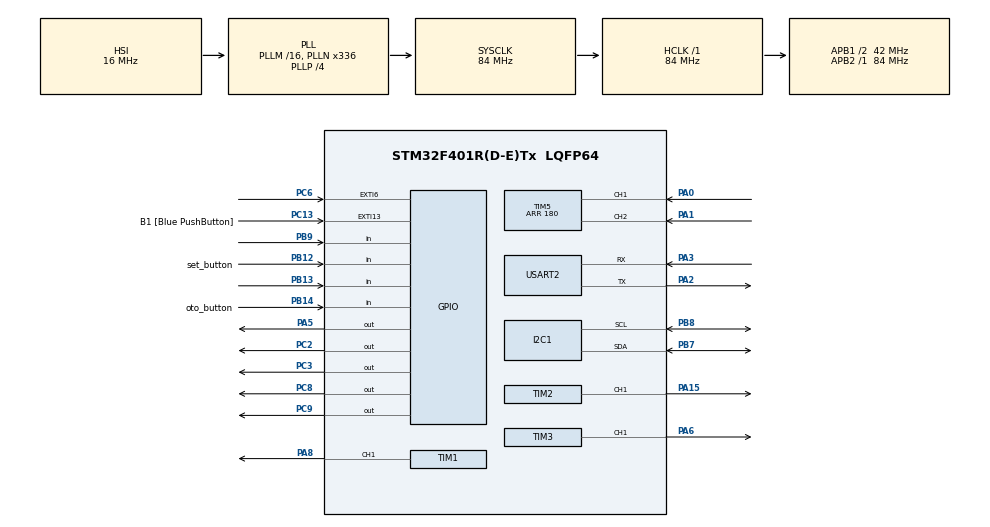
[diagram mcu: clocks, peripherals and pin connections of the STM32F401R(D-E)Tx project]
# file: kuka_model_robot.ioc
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I2C1.I2C_Mode=I2C_Fast
Mcu.Family=STM32F4
Mcu.Name=STM32F401R(D-E)Tx
Mcu.Package=LQFP64
NVIC.EXTI9_5_IRQn=true\:0\:0\:false\:false\:true\:true\:true\:true
NVIC.PriorityGroup=NVIC_PRIORITYGROUP_0
PA0-WKUP.Signal=S_TIM5_CH1
PA1.Signal=S_TIM5_CH2
PA13.GPIO_Label=TMS
PA13.Mode=Serial_Wire
PA13.Signal=SYS_JTMS-SWDIO
PA14.GPIO_Label=TCK
PA14.Mode=Serial_Wire
PA14.Signal=SYS_JTCK-SWCLK
PA15.Signal=S_TIM2_CH1_ETR
PA2.Mode=Asynchronous
PA2.Signal=USART2_TX
PA3.Mode=Asynchronous
PA3.Signal=USART2_RX
PA5.Signal=GPIO_Output
PA6.Signal=S_TIM3_CH1
PA8.Signal=S_TIM1_CH1
PB12.GPIO_Label=set_button
PB12.Signal=GPIO_Input
PB13.Signal=GPIO_Input
PB14.GPIO_Label=oto_button
PB14.Signal=GPIO_Input
PB3.GPIO_Label=SWO
PB3.Signal=SYS_JTDO-SWO
PB7.Mode=I2C
PB7.Signal=I2C1_SDA
PB8.Mode=I2C
PB8.Signal=I2C1_SCL
PB9.Signal=GPIO_Input
PC13-ANTI_TAMP.GPIO_Label=B1 [Blue PushButton]
PC13-ANTI_TAMP.GPIO_ModeDefaultEXTI=GPIO_MODE_IT_FALLING
PC13-ANTI_TAMP.GPIO_PuPd=GPIO_NOPULL
PC13-ANTI_TAMP.Signal=GPXTI13
PC14-OSC32_IN.Mode=LSE-External-Oscillator
PC14-OSC32_IN.Signal=RCC_OSC32_IN
PC15-OSC32_OUT.Mode=LSE-External-Oscillator
PC15-OSC32_OUT.Signal=RCC_OSC32_OUT
PC2.Signal=GPIO_Output
PC3.Signal=GPIO_Output
PC6.Signal=GPXTI6
PC8.Signal=GPIO_Output
PC9.Signal=GPIO_Output
PH0\ -\ OSC_IN.Mode=HSE-External-Clock-Source
PH0\ -\ OSC_IN.Signal=RCC_OSC_IN
PH1\ -\ OSC_OUT.Mode=HSE-External-Clock-Source
PH1\ -\ OSC_OUT.Signal=RCC_OSC_OUT
ProjectManager.HeapSize=0x200
ProjectManager.StackSize=0x400
ProjectManager.TargetToolchain=STM32CubeIDE
RCC.48MHZClocksFreq_Value=48000000
RCC.AHBFreq_Value=84000000
RCC.APB1CLKDivider=RCC_HCLK_DIV2
RCC.APB1Freq_Value=42000000
RCC.APB1TimFreq_Value=84000000
RCC.APB2Freq_Value=84000000
RCC.APB2TimFreq_Value=84000000
RCC.CortexFreq_Value=84000000
RCC.HCLKFreq_Value=84000000
RCC.HSE_VALUE=8000000
RCC.HSI_VALUE=16000000
RCC.PLLN=336
RCC.PLLP=RCC_PLLP_DIV4
RCC.PLLQ=7
RCC.SYSCLKFreq_VALUE=84000000
RCC.SYSCLKSource=RCC_SYSCLKSOURCE_PLLCLK
RCC.VCOOutputFreq_Value=336000000
SH.S_TIM1_CH1.0=TIM1_CH1,PWM Generation1 CH1
SH.S_TIM2_CH1_ETR.0=TIM2_CH1,PWM Generation1 CH1
SH.S_TIM3_CH1.0=TIM3_CH1,PWM Generation1 CH1
SH.S_TIM5_CH1.0=TIM5_CH1,Encoder_Interface
SH.S_TIM5_CH2.0=TIM5_CH2,Encoder_Interface
TIM1.Channel-PWM\ Generation1\ CH1=TIM_CHANNEL_1
TIM1.Period=9999
TIM1.Prescaler=839
TIM2.Channel-PWM\ Generation1\ CH1=TIM_CHANNEL_1
TIM2.Period=9999
TIM2.Prescaler=839
TIM3.Channel-PWM\ Generation1\ CH1=TIM_CHANNEL_1
TIM3.Period=9999
TIM3.Prescaler=839
TIM5.AutoReloadPreload=TIM_AUTORELOAD_PRELOAD_ENABLE
TIM5.EncoderMode=TIM_ENCODERMODE_TI12
TIM5.Period=180
USART2.VirtualMode=VM_ASYNC
VP_TIM1_VS_ClockSourceINT.Mode=Internal
VP_TIM2_VS_ClockSourceINT.Mode=Internal
VP_TIM3_VS_ClockSourceINT.Mode=Internal
board=NUCLEO-F401RE

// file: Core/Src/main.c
/* USER CODE BEGIN Header */
/**
  ******************************************************************************
  * @file           : main.c
  * @brief          : Main program body
  ******************************************************************************
  * @attention
  *
  * Copyright (c) 2023 STMicroelectronics.
  * All rights reserved.
  *
  * This software is licensed under terms that can be found in the LICENSE file
  * in the root directory of this software component.
  * If no LICENSE file comes with this software, it is provided AS-IS.
  *
  ******************************************************************************
  */
/* USER CODE END Header */
#include "main.h"

/* USER CODE BEGIN Includes */
#include "string.h"
#include <stdio.h>
#include "bitmap.h"
#include "delay.h"
#include "fonts.h"
#include "i2c.h"
#include "oled.h"
#include "stm32f4xx_it.h"
#include "stm32f4xx_hal.h"

/* USER CODE END Includes */

I2C_HandleTypeDef hi2c1;

TIM_HandleTypeDef htim1;
TIM_HandleTypeDef htim2;
TIM_HandleTypeDef htim3;
TIM_HandleTypeDef htim5;

UART_HandleTypeDef huart2;

/* USER CODE BEGIN PV */
int value;
int x=0;
uint16_t sayi=0;
char name[15]="\r\nKUKA";
char name1[15]="\r\n1F010 IR50";
char safety_not[25]="\r\nsafety not okey now";
char auto_engine[30]="\r\nengine started auto mode";

/* USER CODE END PV */

void SystemClock_Config(void);
static void MX_GPIO_Init(void);
static void MX_I2C1_Init(void);
static void MX_TIM1_Init(void);
static void MX_TIM2_Init(void);
static void MX_TIM3_Init(void);
static void MX_TIM5_Init(void);
static void MX_USART2_UART_Init(void);

/* USER CODE BEGIN 0 */

void eksen_a1(int deger)
{
	//180 taşıma konumu için max değer*geri sayım
	if(deger<0)
		deger=0;
	if(deger>180)
		deger=180;
	deger=deger+45;

	  __HAL_TIM_SET_COMPARE(&htim1,TIM_CHANNEL_1,deger);

}
void eksen_a2(int deger)
{
	//140 taşıma konumu için max deger *geri sayım
	if(deger<0)
		deger=0;
	if(deger>140)
		deger=140;
	deger=deger+45;

	__HAL_TIM_SET_COMPARE(&htim2,TIM_CHANNEL_1,deger);
}
void eksen_a3(int deger)
{
	if(deger<0)  // taşıma pozisyonu için max değer
		deger=0;
	if(deger>170)
		deger=170;
	deger=deger+45;

	  __HAL_TIM_SET_COMPARE(&htim3,TIM_CHANNEL_1,deger);

}

void HAL_GPIO_EXTI_Callback(uint16_t GPIO_Pin)
{
	HAL_UART_Transmit(&huart2, (uint8_t*)safety_not, strlen(safety_not), 100);

}
/* USER CODE END 0 */

int main(void)
{

  /* MCU Configuration--------------------------------------------------------*/

  /* Reset of all peripherals, Initializes the Flash interface and the Systick. */
  HAL_Init();

  /* Configure the system clock */
  SystemClock_Config();

  /* Initialize all configured peripherals */
  MX_GPIO_Init();
  MX_I2C1_Init();
  MX_TIM1_Init();
  MX_TIM2_Init();
  MX_TIM3_Init();
  MX_TIM5_Init();
  MX_USART2_UART_Init();
  /* USER CODE BEGIN 2 */
  HAL_TIM_PWM_Start(&htim1, TIM_CHANNEL_1);
  HAL_TIM_PWM_Start(&htim2, TIM_CHANNEL_1);
  HAL_TIM_PWM_Start(&htim3, TIM_CHANNEL_1);
 // HAL_TIM_Encoder_Start(&htim5,TIM_CHANNEL_ALL );

for(int i;i<50;i++)
  { HAL_GPIO_TogglePin(GPIOC, GPIO_PIN_2);
HAL_Delay(100);

  }

HAL_UART_Transmit(&huart2, (uint8_t*)name, strlen(name), 100);
HAL_UART_Transmit(&huart2, (uint8_t*)name1, strlen(name1), 100);
HAL_Delay(100);
  eksen_a1(90);
  eksen_a2(140);
  eksen_a3(160);

  /* USER CODE END 2 */

  /* Infinite loop */
  /* USER CODE BEGIN WHILE */
  while (1)
  {

if(HAL_GPIO_ReadPin(GPIOB, GPIO_PIN_9)==1)
{

	HAL_UART_Transmit(&huart2, (uint8_t*)auto_engine, strlen(auto_engine), 100);
	HAL_GPIO_WritePin(GPIOC, GPIO_PIN_9, 0);
	HAL_GPIO_WritePin(GPIOC, GPIO_PIN_3, 0);
HAL_GPIO_TogglePin(GPIOC, GPIO_PIN_8);
HAL_Delay(1000);

	eksen_a1(90);
	HAL_Delay(10);
	eksen_a2(140);
	HAL_Delay(10);
	eksen_a3(170);
	  HAL_Delay(1000);
   	eksen_a1(90);
   	HAL_Delay(10);
   	eksen_a2(100);
   	HAL_Delay(10);
   	eksen_a3(120);
   	  HAL_Delay(1000);
	eksen_a1(90);
	HAL_Delay(10);
	eksen_a2(100);
	HAL_Delay(10);
	eksen_a3(120);
	  HAL_Delay(1000);
	eksen_a1(90);
	HAL_Delay(10);
	eksen_a2(80);
	HAL_Delay(10);
	eksen_a3(100);
	  HAL_Delay(1000);
	eksen_a1(90);
	HAL_Delay(10);
	eksen_a2(70);
	HAL_Delay(10);
	eksen_a3(120);
	  HAL_Delay(1000);
	eksen_a1(90);
	HAL_Delay(10);
	eksen_a2(60);
	HAL_Delay(10);
	eksen_a3(110);
	  HAL_Delay(1000);
	eksen_a1(0);
	HAL_Delay(10);
	eksen_a2(60);
	HAL_Delay(10);
	eksen_a3(110);
	  HAL_Delay(1200);
	eksen_a1(90);
	HAL_Delay(10);
	eksen_a2(60);
	HAL_Delay(10);
	eksen_a3(110);
	  HAL_Delay(1200);
	eksen_a1(90);
	HAL_Delay(10);
	eksen_a2(60);
	HAL_Delay(10);
	eksen_a3(110);
	  HAL_Delay(1000);
	eksen_a1(90);
	HAL_Delay(10);
	eksen_a2(120);
	HAL_Delay(10);
	eksen_a3(140);
	  HAL_Delay(1000);
}
else{
	HAL_GPIO_WritePin(GPIOC, GPIO_PIN_9, 0);
	HAL_GPIO_WritePin(GPIOC, GPIO_PIN_8, 0);
	HAL_GPIO_TogglePin(GPIOC, GPIO_PIN_3);
HAL_Delay(300);
eksen_a1(90);
eksen_a2(140);
eksen_a3(160);
}

    /* USER CODE END WHILE */

  }
}

void SystemClock_Config(void)
{
  RCC_OscInitTypeDef RCC_OscInitStruct = {0};
  RCC_ClkInitTypeDef RCC_ClkInitStruct = {0};

  /** Configure the main internal regulator output voltage
  */
  __HAL_RCC_PWR_CLK_ENABLE();
  __HAL_PWR_VOLTAGESCALING_CONFIG(PWR_REGULATOR_VOLTAGE_SCALE2);

  /** Initializes the RCC Oscillators according to the specified parameters
  * in the RCC_OscInitTypeDef structure.
  */
  RCC_OscInitStruct.OscillatorType = RCC_OSCILLATORTYPE_HSI;
  RCC_OscInitStruct.HSIState = RCC_HSI_ON;
  RCC_OscInitStruct.HSICalibrationValue = RCC_HSICALIBRATION_DEFAULT;
  RCC_OscInitStruct.PLL.PLLState = RCC_PLL_ON;
  RCC_OscInitStruct.PLL.PLLSource = RCC_PLLSOURCE_HSI;
  RCC_OscInitStruct.PLL.PLLM = 16;
  RCC_OscInitStruct.PLL.PLLN = 336;
  RCC_OscInitStruct.PLL.PLLP = RCC_PLLP_DIV4;
  RCC_OscInitStruct.PLL.PLLQ = 7;
  if (HAL_RCC_OscConfig(&RCC_OscInitStruct) != HAL_OK)
  {
    Error_Handler();
  }

  /** Initializes the CPU, AHB and APB buses clocks
  */
  RCC_ClkInitStruct.ClockType = RCC_CLOCKTYPE_HCLK|RCC_CLOCKTYPE_SYSCLK
                              |RCC_CLOCKTYPE_PCLK1|RCC_CLOCKTYPE_PCLK2;
  RCC_ClkInitStruct.SYSCLKSource = RCC_SYSCLKSOURCE_PLLCLK;
  RCC_ClkInitStruct.AHBCLKDivider = RCC_SYSCLK_DIV1;
  RCC_ClkInitStruct.APB1CLKDivider = RCC_HCLK_DIV2;
  RCC_ClkInitStruct.APB2CLKDivider = RCC_HCLK_DIV1;

  if (HAL_RCC_ClockConfig(&RCC_ClkInitStruct, FLASH_LATENCY_2) != HAL_OK)
  {
    Error_Handler();
  }
}

static void MX_I2C1_Init(void)
{

  hi2c1.Instance = I2C1;
  hi2c1.Init.ClockSpeed = 400000;
  hi2c1.Init.DutyCycle = I2C_DUTYCYCLE_2;
  hi2c1.Init.OwnAddress1 = 0;
  hi2c1.Init.AddressingMode = I2C_ADDRESSINGMODE_7BIT;
  hi2c1.Init.DualAddressMode = I2C_DUALADDRESS_DISABLE;
  hi2c1.Init.OwnAddress2 = 0;
  hi2c1.Init.GeneralCallMode = I2C_GENERALCALL_DISABLE;
  hi2c1.Init.NoStretchMode = I2C_NOSTRETCH_DISABLE;
  if (HAL_I2C_Init(&hi2c1) != HAL_OK)
  {
    Error_Handler();
  }

}

static void MX_TIM1_Init(void)
{

  TIM_ClockConfigTypeDef sClockSourceConfig = {0};
  TIM_MasterConfigTypeDef sMasterConfig = {0};
  TIM_OC_InitTypeDef sConfigOC = {0};
  TIM_BreakDeadTimeConfigTypeDef sBreakDeadTimeConfig = {0};

  htim1.Instance = TIM1;
  htim1.Init.Prescaler = 839;
  htim1.Init.CounterMode = TIM_COUNTERMODE_UP;
  htim1.Init.Period = 9999;
  htim1.Init.ClockDivision = TIM_CLOCKDIVISION_DIV1;
  htim1.Init.RepetitionCounter = 0;
  htim1.Init.AutoReloadPreload = TIM_AUTORELOAD_PRELOAD_DISABLE;
  if (HAL_TIM_Base_Init(&htim1) != HAL_OK)
  {
    Error_Handler();
  }
  sClockSourceConfig.ClockSource = TIM_CLOCKSOURCE_INTERNAL;
  if (HAL_TIM_ConfigClockSource(&htim1, &sClockSourceConfig) != HAL_OK)
  {
    Error_Handler();
  }
  if (HAL_TIM_PWM_Init(&htim1) != HAL_OK)
  {
    Error_Handler();
  }
  sMasterConfig.MasterOutputTrigger = TIM_TRGO_RESET;
  sMasterConfig.MasterSlaveMode = TIM_MASTERSLAVEMODE_DISABLE;
  if (HAL_TIMEx_MasterConfigSynchronization(&htim1, &sMasterConfig) != HAL_OK)
  {
    Error_Handler();
  }
  sConfigOC.OCMode = TIM_OCMODE_PWM1;
  sConfigOC.Pulse = 0;
  sConfigOC.OCPolarity = TIM_OCPOLARITY_HIGH;
  sConfigOC.OCNPolarity = TIM_OCNPOLARITY_HIGH;
  sConfigOC.OCFastMode = TIM_OCFAST_DISABLE;
  sConfigOC.OCIdleState = TIM_OCIDLESTATE_RESET;
  sConfigOC.OCNIdleState = TIM_OCNIDLESTATE_RESET;
  if (HAL_TIM_PWM_ConfigChannel(&htim1, &sConfigOC, TIM_CHANNEL_1) != HAL_OK)
  {
    Error_Handler();
  }
  sBreakDeadTimeConfig.OffStateRunMode = TIM_OSSR_DISABLE;
  sBreakDeadTimeConfig.OffStateIDLEMode = TIM_OSSI_DISABLE;
  sBreakDeadTimeConfig.LockLevel = TIM_LOCKLEVEL_OFF;
  sBreakDeadTimeConfig.DeadTime = 0;
  sBreakDeadTimeConfig.BreakState = TIM_BREAK_DISABLE;
  sBreakDeadTimeConfig.BreakPolarity = TIM_BREAKPOLARITY_HIGH;
  sBreakDeadTimeConfig.AutomaticOutput = TIM_AUTOMATICOUTPUT_DISABLE;
  if (HAL_TIMEx_ConfigBreakDeadTime(&htim1, &sBreakDeadTimeConfig) != HAL_OK)
  {
    Error_Handler();
  }
  HAL_TIM_MspPostInit(&htim1);

}

static void MX_TIM2_Init(void)
{

  TIM_ClockConfigTypeDef sClockSourceConfig = {0};
  TIM_MasterConfigTypeDef sMasterConfig = {0};
  TIM_OC_InitTypeDef sConfigOC = {0};

  htim2.Instance = TIM2;
  htim2.Init.Prescaler = 839;
  htim2.Init.CounterMode = TIM_COUNTERMODE_UP;
  htim2.Init.Period = 9999;
  htim2.Init.ClockDivision = TIM_CLOCKDIVISION_DIV1;
  htim2.Init.AutoReloadPreload = TIM_AUTORELOAD_PRELOAD_DISABLE;
  if (HAL_TIM_Base_Init(&htim2) != HAL_OK)
  {
    Error_Handler();
  }
  sClockSourceConfig.ClockSource = TIM_CLOCKSOURCE_INTERNAL;
  if (HAL_TIM_ConfigClockSource(&htim2, &sClockSourceConfig) != HAL_OK)
  {
    Error_Handler();
  }
  if (HAL_TIM_PWM_Init(&htim2) != HAL_OK)
  {
    Error_Handler();
  }
  sMasterConfig.MasterOutputTrigger = TIM_TRGO_RESET;
  sMasterConfig.MasterSlaveMode = TIM_MASTERSLAVEMODE_DISABLE;
  if (HAL_TIMEx_MasterConfigSynchronization(&htim2, &sMasterConfig) != HAL_OK)
  {
    Error_Handler();
  }
  sConfigOC.OCMode = TIM_OCMODE_PWM1;
  sConfigOC.Pulse = 0;
  sConfigOC.OCPolarity = TIM_OCPOLARITY_HIGH;
  sConfigOC.OCFastMode = TIM_OCFAST_DISABLE;
  if (HAL_TIM_PWM_ConfigChannel(&htim2, &sConfigOC, TIM_CHANNEL_1) != HAL_OK)
  {
    Error_Handler();
  }
  HAL_TIM_MspPostInit(&htim2);

}

static void MX_TIM3_Init(void)
{

  TIM_ClockConfigTypeDef sClockSourceConfig = {0};
  TIM_MasterConfigTypeDef sMasterConfig = {0};
  TIM_OC_InitTypeDef sConfigOC = {0};

  htim3.Instance = TIM3;
  htim3.Init.Prescaler = 839;
  htim3.Init.CounterMode = TIM_COUNTERMODE_UP;
  htim3.Init.Period = 9999;
  htim3.Init.ClockDivision = TIM_CLOCKDIVISION_DIV1;
  htim3.Init.AutoReloadPreload = TIM_AUTORELOAD_PRELOAD_DISABLE;
  if (HAL_TIM_Base_Init(&htim3) != HAL_OK)
  {
    Error_Handler();
  }
  sClockSourceConfig.ClockSource = TIM_CLOCKSOURCE_INTERNAL;
  if (HAL_TIM_ConfigClockSource(&htim3, &sClockSourceConfig) != HAL_OK)
  {
    Error_Handler();
  }
  if (HAL_TIM_PWM_Init(&htim3) != HAL_OK)
  {
    Error_Handler();
  }
  sMasterConfig.MasterOutputTrigger = TIM_TRGO_RESET;
  sMasterConfig.MasterSlaveMode = TIM_MASTERSLAVEMODE_DISABLE;
  if (HAL_TIMEx_MasterConfigSynchronization(&htim3, &sMasterConfig) != HAL_OK)
  {
    Error_Handler();
  }
  sConfigOC.OCMode = TIM_OCMODE_PWM1;
  sConfigOC.Pulse = 0;
  sConfigOC.OCPolarity = TIM_OCPOLARITY_HIGH;
  sConfigOC.OCFastMode = TIM_OCFAST_DISABLE;
  if (HAL_TIM_PWM_ConfigChannel(&htim3, &sConfigOC, TIM_CHANNEL_1) != HAL_OK)
  {
    Error_Handler();
  }
  HAL_TIM_MspPostInit(&htim3);

}

static void MX_TIM5_Init(void)
{

  TIM_Encoder_InitTypeDef sConfig = {0};
  TIM_MasterConfigTypeDef sMasterConfig = {0};

  htim5.Instance = TIM5;
  htim5.Init.Prescaler = 0;
  htim5.Init.CounterMode = TIM_COUNTERMODE_UP;
  htim5.Init.Period = 180;
  htim5.Init.ClockDivision = TIM_CLOCKDIVISION_DIV1;
  htim5.Init.AutoReloadPreload = TIM_AUTORELOAD_PRELOAD_ENABLE;
  sConfig.EncoderMode = TIM_ENCODERMODE_TI12;
  sConfig.IC1Polarity = TIM_ICPOLARITY_RISING;
  sConfig.IC1Selection = TIM_ICSELECTION_DIRECTTI;
  sConfig.IC1Prescaler = TIM_ICPSC_DIV1;
  sConfig.IC1Filter = 0;
  sConfig.IC2Polarity = TIM_ICPOLARITY_RISING;
  sConfig.IC2Selection = TIM_ICSELECTION_DIRECTTI;
  sConfig.IC2Prescaler = TIM_ICPSC_DIV1;
  sConfig.IC2Filter = 0;
  if (HAL_TIM_Encoder_Init(&htim5, &sConfig) != HAL_OK)
  {
    Error_Handler();
  }
  sMasterConfig.MasterOutputTrigger = TIM_TRGO_RESET;
  sMasterConfig.MasterSlaveMode = TIM_MASTERSLAVEMODE_DISABLE;
  if (HAL_TIMEx_MasterConfigSynchronization(&htim5, &sMasterConfig) != HAL_OK)
  {
    Error_Handler();
  }

}

static void MX_USART2_UART_Init(void)
{

  huart2.Instance = USART2;
  huart2.Init.BaudRate = 115200;
  huart2.Init.WordLength = UART_WORDLENGTH_8B;
  huart2.Init.StopBits = UART_STOPBITS_1;
  huart2.Init.Parity = UART_PARITY_NONE;
  huart2.Init.Mode = UART_MODE_TX_RX;
  huart2.Init.HwFlowCtl = UART_HWCONTROL_NONE;
  huart2.Init.OverSampling = UART_OVERSAMPLING_16;
  if (HAL_UART_Init(&huart2) != HAL_OK)
  {
    Error_Handler();
  }

}

static void MX_GPIO_Init(void)
{
  GPIO_InitTypeDef GPIO_InitStruct = {0};

  /* GPIO Ports Clock Enable */
  __HAL_RCC_GPIOC_CLK_ENABLE();
  __HAL_RCC_GPIOH_CLK_ENABLE();
  __HAL_RCC_GPIOA_CLK_ENABLE();
  __HAL_RCC_GPIOB_CLK_ENABLE();

  /*Configure GPIO pin Output Level */
  HAL_GPIO_WritePin(GPIOC, GPIO_PIN_2|GPIO_PIN_3|GPIO_PIN_8|GPIO_PIN_9, GPIO_PIN_RESET);

  /*Configure GPIO pin Output Level */
  HAL_GPIO_WritePin(GPIOA, GPIO_PIN_5, GPIO_PIN_RESET);

  /*Configure GPIO pin : B1_Pin */
  GPIO_InitStruct.Pin = B1_Pin;
  GPIO_InitStruct.Mode = GPIO_MODE_IT_FALLING;
  GPIO_InitStruct.Pull = GPIO_NOPULL;
  HAL_GPIO_Init(B1_GPIO_Port, &GPIO_InitStruct);

  /*Configure GPIO pins : PC2 PC3 PC8 PC9 */
  GPIO_InitStruct.Pin = GPIO_PIN_2|GPIO_PIN_3|GPIO_PIN_8|GPIO_PIN_9;
  GPIO_InitStruct.Mode = GPIO_MODE_OUTPUT_PP;
  GPIO_InitStruct.Pull = GPIO_NOPULL;
  GPIO_InitStruct.Speed = GPIO_SPEED_FREQ_LOW;
  HAL_GPIO_Init(GPIOC, &GPIO_InitStruct);

  /*Configure GPIO pin : PA5 */
  GPIO_InitStruct.Pin = GPIO_PIN_5;
  GPIO_InitStruct.Mode = GPIO_MODE_OUTPUT_PP;
  GPIO_InitStruct.Pull = GPIO_NOPULL;
  GPIO_InitStruct.Speed = GPIO_SPEED_FREQ_LOW;
  HAL_GPIO_Init(GPIOA, &GPIO_InitStruct);

  /*Configure GPIO pins : set_button_Pin PB13 oto_button_Pin PB9 */
  GPIO_InitStruct.Pin = set_button_Pin|GPIO_PIN_13|oto_button_Pin|GPIO_PIN_9;
  GPIO_InitStruct.Mode = GPIO_MODE_INPUT;
  GPIO_InitStruct.Pull = GPIO_NOPULL;
  HAL_GPIO_Init(GPIOB, &GPIO_InitStruct);

  /*Configure GPIO pin : PC6 */
  GPIO_InitStruct.Pin = GPIO_PIN_6;
  GPIO_InitStruct.Mode = GPIO_MODE_IT_RISING;
  GPIO_InitStruct.Pull = GPIO_NOPULL;
  HAL_GPIO_Init(GPIOC, &GPIO_InitStruct);

  /* EXTI interrupt init*/
  HAL_NVIC_SetPriority(EXTI9_5_IRQn, 0, 0);
  HAL_NVIC_EnableIRQ(EXTI9_5_IRQn);

}

void Error_Handler(void)
{
  __disable_irq();
  while (1)
  {
  }
}
